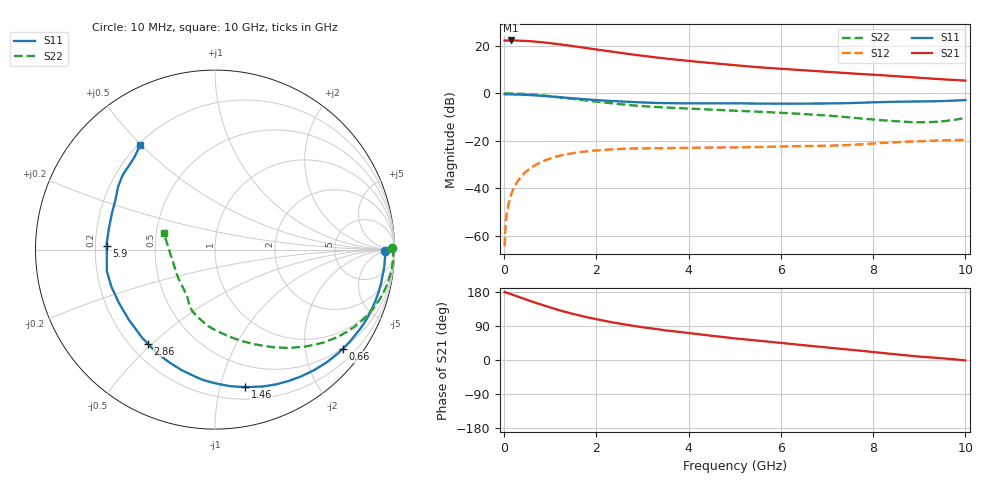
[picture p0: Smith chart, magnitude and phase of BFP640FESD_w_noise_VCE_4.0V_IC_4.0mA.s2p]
! Infineon Technologies  Discrete & RF Semiconductors
! BFP640FESD
! VCE =  4.0 V,  IC =  4.0 mA
! Common Emitter S-Parameters:  Jan 2016
# GHz  S  MA  R  50
!  f  S11  S21  S12  S22
! GHz  MAG  ANG  MAG  ANG  MAG  ANG  MAG  ANG
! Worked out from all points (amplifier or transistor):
!   233 points, 10 MHz to 10 GHz, reference 50 ohm
!   highest |S21| = 22.2 dB at 150 MHz (marker M1)
!   |S21| within 3 dB of that: start of sweep to 1.718 GHz
!   unconditionally stable (mu >= 1): start of sweep to 10.37 MHz; 6.107 GHz to end of sweep
!   at 200 MHz: K = 0.07, MSG = 31.3 dB, |S12| = -40.4 dB
!   at 1.74 GHz: K = 0.24, MSG = 21.9 dB, |S12| = -24.6 dB
!   at 10 GHz: K = 1.25, MAG = 9.5 dB, |S12| = -19.6 dB
!   lowest NFmin = 0.49 dB at 450 MHz
!   S11 on the Smith chart (normalised r, x): 10 MHz: 37, -5; 660 MHz: 0.48, -2.85; 1.46 GHz: 0.30, -1.20; 2.86 GHz: 0.27, -0.48; 5.9 GHz: 0.25, +0.01; 10 GHz: 0.21, +0.50
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0.01  0.9485 -0.4  12.9 179.3  0.0006 20.3  0.9889 0.5
0.03  0.949 -1.7  12.83 178.5  0.0016 69.9  0.9938 -1.0
0.05  0.9476 -2.9  12.81 177.6  0.0026 74.3  0.994 -1.6
0.15  0.9444 -8.8  12.92 173.7  0.0072 79.8  0.9917 -5.1
0.36  0.9341 -20.9  12.79 164.7  0.0171 76.4  0.9759 -12.2
0.66  0.9011 -37.8  12.26 151.8  0.03 67.8  0.9326 -21.8
0.9  0.8691 -50.7  11.64 142.3  0.039 61.1  0.8872 -29.1
1.04  0.8472 -57.8  11.22 137.1  0.0435 57.3  0.8566 -33.1
1.22  0.8202 -66.7  10.68 130.5  0.0487 52.9  0.8173 -38.0
1.46  0.7833 -77.7  9.924 122.6  0.0542 47.5  0.7646 -44.0
1.68  0.7535 -87.0  9.265 116.0  0.0582 43.2  0.7199 -49.0
1.88  0.7305 -94.7  8.668 110.6  0.061 39.8  0.6831 -53.3
2.2  0.6961 -105.7  7.827 102.6  0.0644 35.3  0.6312 -59.4
2.58  0.6635 -117.9  6.958 94.3  0.0673 30.8  0.5789 -66.2
2.86  0.6444 -125.6  6.389 88.9  0.0684 28.3  0.5475 -70.9
3.4  0.6208 -138.5  5.51 80.0  0.0696 24.9  0.5064 -77.8
4  0.6122 -150.8  4.785 71.0  0.0708 23.0  0.4745 -83.9
5.1  0.6116 -170.2  3.809 55.9  0.0725 21.1  0.424 -95.8
5.9  0.6035 178.2  3.329 46.4  0.0751 21.6  0.3918 -103.4
6.8  0.6053 163.7  2.909 35.3  0.0777 22.0  0.3486 -113.2
8.4  0.6578 142.1  2.32 16.1  0.092 24.3  0.2607 -140.6
10  0.7159 125.7  1.844 -1.1  0.1046 19.4  0.2997 162.4
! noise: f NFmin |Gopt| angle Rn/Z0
0.45  0.49  0.6  7  0.15
2.4  0.72  0.32  55  0.13
5.5  1.03  0.42  148  0.08
10  1.94  0.53  -123  0.27
